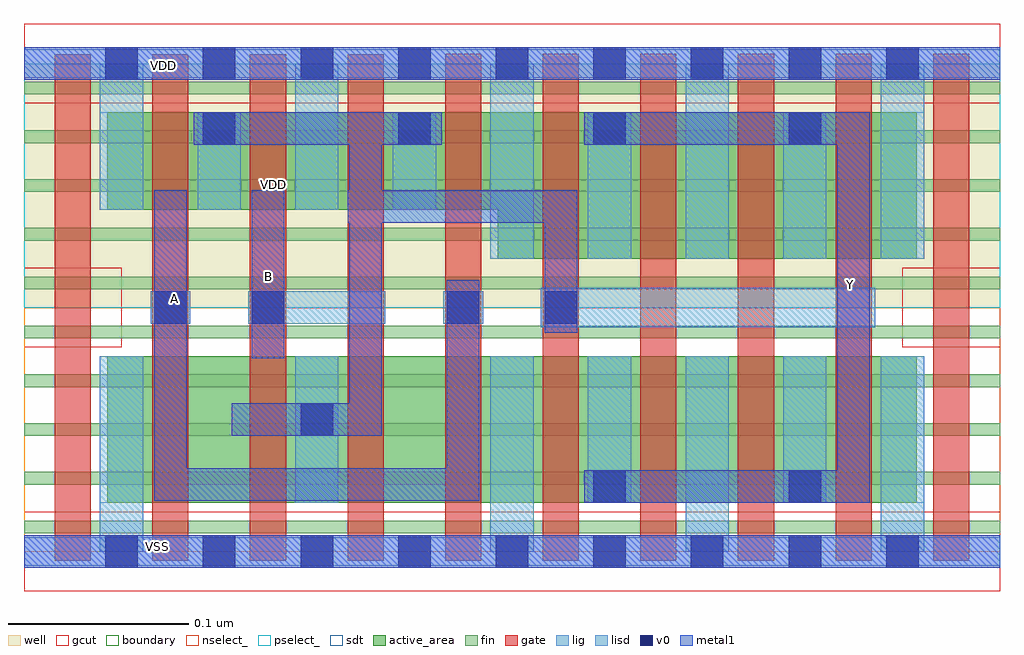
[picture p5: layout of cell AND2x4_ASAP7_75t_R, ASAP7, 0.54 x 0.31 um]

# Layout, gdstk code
import gdstk
lib = gdstk.Library(unit=1e-6, precision=2.5e-10)
def R(c, l, rs):  # rectangles x0, y0, x1, y1
    for r in rs: c.add(gdstk.rectangle(r[:2], r[2:], *l))
def A(c, l, x, y, w, h, nx, ny, dx, dy):  # array of equal rectangles
    R(c, l, [(x+i*dx, y+j*dy, x+i*dx+w, y+j*dy+h) for i in range(nx) for j in range(ny)])
def P(c, l, *ps):  # polygons
    for p in ps: c.add(gdstk.Polygon(p, *l))
well = (1, 0)
fin = (2, 0)
gate = (7, 0)
gcut = (10, 0)
active_area = (11, 0)
nselect_ = (12, 0)
pselect_ = (13, 0)
lig = (16, 0)
lisd = (17, 0)
v0 = (18, 0)
metal1 = (19, 0)
sdt = (88, 0)
boundary = (100, 0)

and2x4_asap7_75t_r = lib.new_cell('AND2x4_ASAP7_75t_R')
R(and2x4_asap7_75t_r, well, [(0,0.135,0.54,0.27)])
A(and2x4_asap7_75t_r, fin, 0, 0.01, 0.54, 0.007, 1, 10, 0, 0.027)
A(and2x4_asap7_75t_r, gate, 0.017, -0.005, 0.02, 0.28, 4, 1, 0.054, 0)
A(and2x4_asap7_75t_r, gate, 0.233, -0.005, 0.02, 0.2805, 4, 1, 0.054, 0)
R(and2x4_asap7_75t_r, gate, [(0.395,-0.005,0.415,0.2755), (0.449,-0.005,0.469,0.2755), (0.449,-0.005,0.469,0.2755), (0.503,-0.005,0.523,0.2755)])
R(and2x4_asap7_75t_r, gcut, [(0,-0.022,0.54,0.022), (0,0.113,0.054,0.157), (0.486,0.113,0.54,0.157), (0,0.248,0.54,0.292)])
R(and2x4_asap7_75t_r, active_area, [(0.046,0.027,0.494,0.108)])
P(and2x4_asap7_75t_r, active_area, [(0.494,0.243),(0.046,0.243),(0.046,0.189),(0.262,0.189),(0.262,0.162),(0.494,0.162)])
R(and2x4_asap7_75t_r, nselect_, [(0,0,0.54,0.135)])
R(and2x4_asap7_75t_r, pselect_, [(0,0.135,0.54,0.27)])
R(and2x4_asap7_75t_r, lig, [(0,-0.008,0.54,0.008), (0.286,0.124,0.471,0.146), (0.07,0.126,0.092,0.144), (0.124,0.126,0.2,0.144), (0.232,0.126,0.254,0.144), (0,0.262,0.54,0.278)])
A(and2x4_asap7_75t_r, lisd, 0.258, 0, 0.024, 0.108, 3, 2, 0.108, 0.162)
R(and2x4_asap7_75t_r, lisd, [(0.042,0,0.066,0.108), (0.474,0,0.498,0.108), (0.15,0.027,0.174,0.108), (0.312,0.027,0.336,0.108), (0.42,0.027,0.444,0.108), (0.42,0.027,0.444,0.108), (0.312,0.162,0.336,0.243), (0.42,0.162,0.444,0.243), (0.42,0.162,0.444,0.243), (0.474,0.162,0.498,0.27), (0.042,0.189,0.066,0.27), (0.096,0.189,0.12,0.243), (0.15,0.189,0.174,0.27), (0.204,0.189,0.228,0.243)])
A(and2x4_asap7_75t_r, v0, 0.045, -0.009, 0.018, 0.018, 8, 2, 0.054, 0.27)
A(and2x4_asap7_75t_r, v0, 0.099, 0.225, 0.018, 0.018, 4, 1, 0.108, 0)
R(and2x4_asap7_75t_r, v0, [(0.423,-0.009,0.441,0.009), (0.477,-0.009,0.495,0.009), (0.477,-0.009,0.495,0.009), (0.315,0.027,0.333,0.045), (0.423,0.027,0.441,0.045), (0.423,0.027,0.441,0.045), (0.153,0.064,0.171,0.082), (0.072,0.126,0.09,0.144), (0.126,0.126,0.144,0.144), (0.234,0.126,0.252,0.144), (0.288,0.126,0.306,0.144), (0.423,0.225,0.441,0.243), (0.423,0.261,0.441,0.279), (0.477,0.261,0.495,0.279), (0.477,0.261,0.495,0.279)])
R(and2x4_asap7_75t_r, metal1, [(0,-0.009,0.54,0.009), (0.126,0.107,0.144,0.2), (0,0.261,0.54,0.279)])
P(and2x4_asap7_75t_r, metal1, [(0.252,0.15),(0.234,0.15),(0.234,0.046),(0.09,0.046),(0.09,0.2),(0.072,0.2),(0.072,0.028),(0.252,0.028)],
  [(0.306,0.2),(0.198,0.2),(0.198,0.225),(0.231,0.225),(0.231,0.243),(0.094,0.243),(0.094,0.225),(0.18,0.225),(0.18,0.2),(0.179,0.2),(0.179,0.182),(0.18,0.182),(0.18,0.082),(0.115,0.082),(0.115,0.064),(0.198,0.064),(0.198,0.182),(0.288,0.182),(0.288,0.121),(0.306,0.121)],
  [(0.468,0.243),(0.31,0.243),(0.31,0.225),(0.45,0.225),(0.45,0.045),(0.31,0.045),(0.31,0.027),(0.468,0.027)])
A(and2x4_asap7_75t_r, sdt, 0.042, 0.027, 0.024, 0.081, 3, 1, 0.108, 0)
A(and2x4_asap7_75t_r, sdt, 0.312, 0.027, 0.024, 0.081, 3, 1, 0.054, 0)
A(and2x4_asap7_75t_r, sdt, 0.258, 0.162, 0.024, 0.081, 4, 1, 0.054, 0)
A(and2x4_asap7_75t_r, sdt, 0.042, 0.189, 0.024, 0.054, 4, 1, 0.054, 0)
R(and2x4_asap7_75t_r, sdt, [(0.42,0.027,0.444,0.108), (0.474,0.027,0.498,0.108), (0.474,0.027,0.498,0.108), (0.42,0.162,0.444,0.243), (0.474,0.162,0.498,0.243), (0.474,0.162,0.498,0.243)])
R(and2x4_asap7_75t_r, boundary, [(0,0,0.54,0.27)])
and2x4_asap7_75t_r.add(gdstk.Label('B', (0.135,0.152), layer=19, texttype=251))
and2x4_asap7_75t_r.add(gdstk.Label('A', (0.083,0.14), layer=19, texttype=251))
and2x4_asap7_75t_r.add(gdstk.Label('Y', (0.4575,0.1475), layer=19, texttype=251))
and2x4_asap7_75t_r.add(gdstk.Label('VDD', (0.077,0.269), layer=19, texttype=251))
and2x4_asap7_75t_r.add(gdstk.Label('VSS', (0.074,0.003), layer=19, texttype=251))
and2x4_asap7_75t_r.add(gdstk.Label('VDD', (0.138,0.203), layer=1, texttype=251))
and2x4_asap7_75t_r.add(gdstk.Label('VSS', (0.467,-0.05), layer=3, texttype=251))

lib.write_gds('AND2x4_ASAP7_75t_R.gds')
